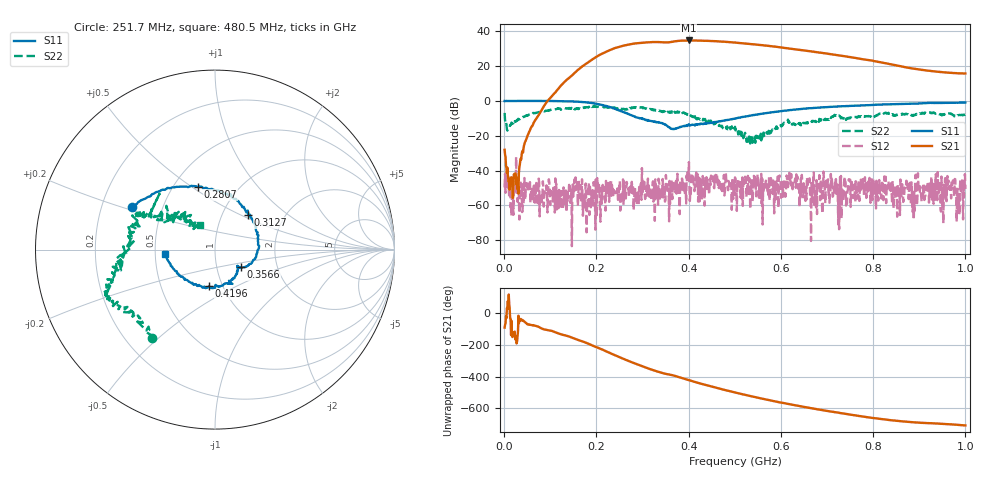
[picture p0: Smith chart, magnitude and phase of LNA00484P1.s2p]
! Created with skrf 1.9.0 (http://scikit-rf.org).
# Hz S RI R 50.0
!freq ReS11 ImS11 ReS21 ImS21 ReS12 ImS12 ReS22 ImS22
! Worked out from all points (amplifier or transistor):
!   1001 points, 1 MHz to 1 GHz, reference 50 ohm
!   highest |S21| = 34.8 dB at 400.6 MHz (marker M1)
!   |S21| within 3 dB of that: 258.8 MHz to 568.7 MHz (309.9 MHz wide, 74.9 % of centre)
!   unconditionally stable (mu >= 1): 220.8 MHz to 298.4 MHz; 299.3 MHz to 399.9 MHz; 401 MHz to end of sweep (the widest 3 of 40)
!   at 166.8 MHz: K = 2.66, MAG = 31.2 dB, |S12| = -57.2 dB
!   at 500.5 MHz: K = 1.62, MAG = 34.2 dB, |S12| = -44.0 dB
!   at 1 GHz: K = 4.52, MAG = 23.7 dB, |S12| = -50.5 dB
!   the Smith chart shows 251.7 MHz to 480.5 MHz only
!   S11 on the Smith chart (normalised r, x): 251.7 MHz: 0.33, +0.21; 280.7 MHz: 0.66, +0.53; 312.7 MHz: 1.32, +0.55; 356.6 MHz: 1.31, -0.27; 419.6 MHz: 0.86, -0.37; 480.5 MHz: 0.56, -0.03
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1000000  0.9934 0.00862  -0.000768 -0.0393  -0.00209 -0.0025  0.3265 0.315
1.08892e8  0.5321 -0.8433  -0.7737 -1.458  0.00156 0.00136  0.4326 -0.3794
1.67833e8  -0.2133 -0.9102  -9.499 -0.6773  -0.00083 0.00115  0.0428 -0.6397
2.12788e8  -0.6781 -0.351  -14.89 17.59  0.00232 -0.00188  -0.2197 -0.6337
2.31769e8  -0.6503 -0.0371  -8.11 28.76  -0.00304 -0.00397  -0.2915 -0.5688
2.51749e8  -0.4613 0.2349  5.926 36.34  3.61e-05 -0.000705  -0.3522 -0.4943
2.8072e8  -0.0956 0.35  30.7 31.97  0.000629 -0.000353  -0.5758 -0.2886
3.12688e8  0.1854 0.194  47.57 9.163  0.0021 -0.00113  -0.5616 -0.1673
3.34666e8  0.2461 0.0204  48.52 -8.73  -0.00564 0.00135  -0.5269 -0.0299
3.56644e8  0.1454 -0.099  43.46 -21.64  0.00228 0.000266  -0.4645 0.0653
3.75625e8  0.1263 -0.1091  40.3 -34.42  0.00255 0.00766  -0.4621 0.1898
4.006e8  0.0976 -0.191  24.52 -49.08  -0.0078 0.0157  -0.3087 0.3126
4.19581e8  -0.034 -0.2047  10.49 -53.48  0.00773 0.00119  -0.2825 0.1522
4.46554e8  -0.1607 -0.1677  -9.603 -52.27  0.00568 0.00137  -0.1881 0.1945
4.8052e8  -0.2804 -0.0264  -29.37 -40.82  0.0086 0.00271  -0.0835 0.1383
5.005e8  -0.2973 0.0785  -36.97 -30.73  -0.00594 -0.00216  -0.1257 0.1295
5.4046e8  -0.2544 0.3037  -41.42 -9.516  0.00117 0.00347  -0.0865 -0.0172
5.88412e8  -0.0668 0.4803  -34.64 10.59  0.000381 -0.00141  -0.1352 -0.0781
6.67333e8  0.3096 0.5407  -13.02 22.78  0.000901 -0.000909  -0.2624 -0.0443
7.53247e8  0.6168 0.3825  3.462 17.56  0.00215 -0.00507  -0.3201 0.0449
8.34166e8  0.7784 0.1647  7.983 8.464  -0.000769 -0.00359  -0.4159 0.1293
1e9  0.8227 -0.3713  6.029 1.268  0.00105 -0.00278  -0.111 0.3866
